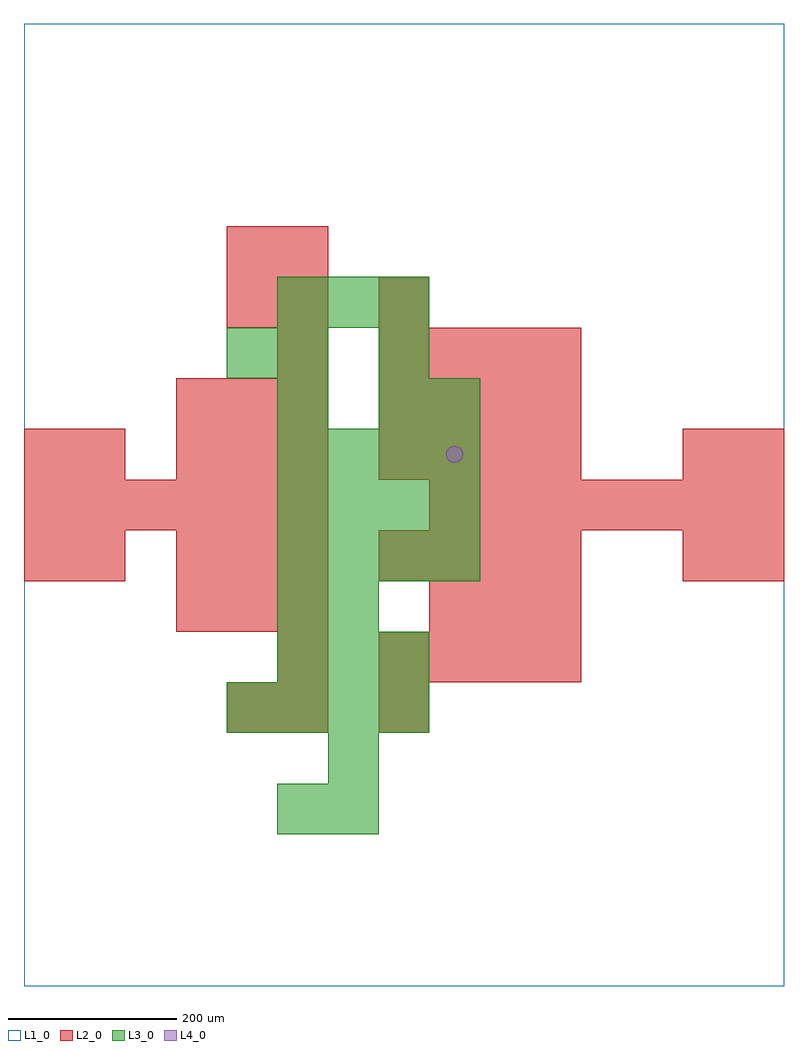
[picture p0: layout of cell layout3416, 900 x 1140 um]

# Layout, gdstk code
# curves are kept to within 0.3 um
import gdstk
lib = gdstk.Library(unit=1e-6, precision=1e-09)
def R(c, l, rs):  # rectangles x0, y0, x1, y1
    for r in rs: c.add(gdstk.rectangle(r[:2], r[2:], *l))
def A(c, l, x, y, w, h, nx, ny, dx, dy):  # array of equal rectangles
    R(c, l, [(x+i*dx, y+j*dy, x+i*dx+w, y+j*dy+h) for i in range(nx) for j in range(ny)])
def P(c, l, *ps):  # polygons
    for p in ps: c.add(gdstk.Polygon(p, *l))
L1_0 = (1, 0)
L2_0 = (2, 0)
L3_0 = (3, 0)
L4_0 = (4, 0)

layout3416 = lib.new_cell('layout3416')
R(layout3416, L1_0, [(0,0,900,1140)])
A(layout3416, L2_0, 420, 360, 60, 60, 4, 3, 60, 120)
A(layout3416, L2_0, 180, 420, 60, 60, 3, 2, 60, 60)
A(layout3416, L2_0, 480, 420, 60, 60, 3, 1, 60, 0)
A(layout3416, L2_0, 0, 540, 60, 60, 6, 1, 60, 0)
A(layout3416, L2_0, 480, 540, 60, 60, 7, 1, 60, 0)
A(layout3416, L2_0, 180, 600, 60, 60, 3, 2, 60, 60)
A(layout3416, L2_0, 420, 660, 60, 60, 4, 2, 60, 60)
A(layout3416, L2_0, 300, 720, 60, 60, 1, 3, 0, 60)
R(layout3416, L2_0, [(240,300,300,360), (300,300,360,360), (420,300,480,360), (300,360,360,420), (0,480,60,540), (60,480,120,540), (780,480,840,540), (840,480,900,540), (0,600,60,660), (60,600,120,660), (780,600,840,660), (840,600,900,660), (240,780,300,840), (420,780,480,840), (240,840,300,900)])
A(layout3416, L3_0, 300, 180, 60, 60, 1, 3, 0, 240)
A(layout3416, L3_0, 240, 300, 60, 60, 4, 1, 60, 0)
A(layout3416, L3_0, 300, 360, 60, 60, 3, 2, 60, 420)
A(layout3416, L3_0, 300, 480, 60, 60, 4, 3, 60, 60)
R(layout3416, L3_0, [(360,180,420,240), (360,240,420,300), (360,420,420,480), (420,660,480,720), (480,660,540,720), (240,720,300,780), (300,720,360,780), (420,720,480,780)])
P(layout3416, L4_0, [(520,630),(519.239,633.827),(517.071,637.071),(513.827,639.239),(510,640),(506.173,639.239),(502.929,637.071),(500.761,633.827),(500,630),(500.761,626.173),(502.929,622.929),(506.173,620.761),(510,620),(513.827,620.761),(517.071,622.929),(519.239,626.173)])

lib.write_gds('layout3416.gds')
